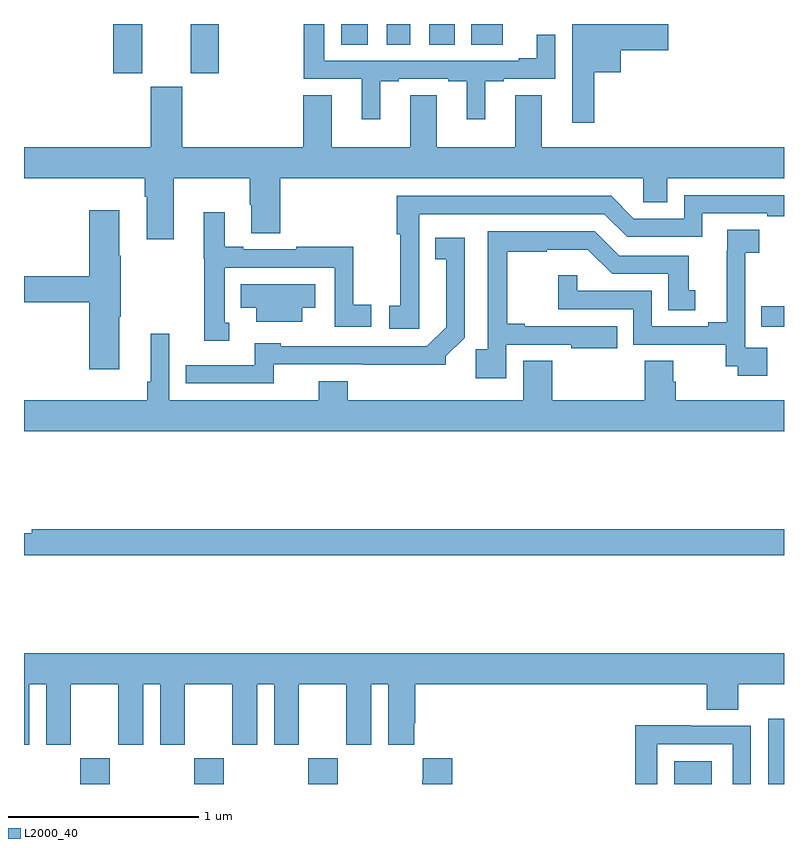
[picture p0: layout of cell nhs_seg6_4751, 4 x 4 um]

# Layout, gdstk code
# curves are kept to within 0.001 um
import gdstk
lib = gdstk.Library(unit=1e-6, precision=1e-09)
def R(c, l, rs):  # rectangles x0, y0, x1, y1
    for r in rs: c.add(gdstk.rectangle(r[:2], r[2:], *l))
def A(c, l, x, y, w, h, nx, ny, dx, dy):  # array of equal rectangles
    R(c, l, [(x+i*dx, y+j*dy, x+i*dx+w, y+j*dy+h) for i in range(nx) for j in range(ny)])
def P(c, l, *ps):  # polygons
    for p in ps: c.add(gdstk.Polygon(p, *l))
L2000_40 = (2000, 40)

nhs_seg6_4751 = lib.new_cell('nhs_seg6_4751')
A(nhs_seg6_4751, L2000_40, 393.295, 925.5, 0.155, 0.136, 3, 1, 0.6, 0)
R(nhs_seg6_4751, L2000_40, [(396.422,925.5,396.619,925.621), (396.918,925.5,397,925.843), (396.88,927.906,397,928.015), (393.47,929.241,393.622,929.5), (393.878,929.241,394.026,929.5), (394.67,929.392,394.81,929.5), (394.91,929.392,395.032,929.5), (395.132,929.392,395.266,929.5), (395.354,929.392,395.521,929.5)])
P(nhs_seg6_4751, L2000_40, [(394.876,929.199),(394.972,929.199),(394.972,929.211),(395.234,929.211),(395.234,929.199),(395.33,929.199),(395.33,928.998),(395.428,928.998),(395.428,929.199),(395.524,929.199),(395.524,929.211),(395.796,929.211),(395.796,929.443),(395.699,929.443),(395.699,929.32),(395.603,929.32),(395.603,929.307),(394.581,929.307),(394.581,929.5),(394.473,929.5),(394.473,929.211),(394.778,929.211),(394.778,928.998),(394.876,928.998)],
  [(396.002,929.246),(396.142,929.246),(396.142,929.363),(396.391,929.363),(396.391,929.5),(395.885,929.5),(395.885,929.493),(395.886,929.493),(395.886,928.98),(396.002,928.98)],
  [(393.787,928.688),(394.189,928.688),(394.189,928.55),(394.196,928.55),(394.196,928.399),(394.349,928.399),(394.349,928.688),(396.258,928.688),(396.258,928.561),(396.385,928.561),(396.385,928.688),(397,928.688),(397,928.852),(395.725,928.852),(395.725,929.126),(395.585,929.126),(395.585,928.852),(395.173,928.852),(395.173,929.126),(395.033,929.126),(395.033,928.852),(394.621,928.852),(394.621,929.126),(394.469,929.126),(394.469,928.852),(393.832,928.852),(393.832,929.169),(393.668,929.169),(393.668,928.852),(393,928.852),(393,928.688),(393.635,928.688),(393.635,928.592),(393.647,928.592),(393.647,928.368),(393.787,928.368)],
  [(395.08,928.172),(395.079,928.5),(396.054,928.5),(396.174,928.38),(396.57,928.38),(396.57,928.503),(396.911,928.503),(396.911,928.488),(397,928.488),(397,928.599),(396.474,928.599),(396.474,928.476),(396.21,928.476),(396.09,928.596),(394.963,928.596),(394.963,928.393),(394.981,928.393),(394.981,928.017),(394.923,928.017),(394.923,927.897),(395.08,927.897)],
  [(393.502,927.959),(393.51,927.959),(393.51,928.28),(393.502,928.28),(393.502,928.519),(393.344,928.519),(393.344,928.172),(393,928.172),(393,928.036),(393.344,928.036),(393.344,927.684),(393.502,927.684)],
  [(394.081,927.927),(394.056,927.927),(394.056,928.218),(394.635,928.218),(394.635,927.906),(394.828,927.906),(394.828,928.022),(394.734,928.022),(394.734,928.327),(394.432,928.327),(394.432,928.314),(394.153,928.314),(394.153,928.327),(394.057,928.327),(394.057,928.51),(393.947,928.51),(393.947,928.265),(393.948,928.265),(393.948,927.833),(394.081,927.833)],
  [(396.913,927.795),(396.795,927.795),(396.795,928.099),(396.797,928.099),(396.797,928.297),(396.871,928.297),(396.871,928.418),(396.7,928.418),(396.7,928.307),(396.698,928.307),(396.698,927.929),(396.602,927.929),(396.602,927.909),(396.303,927.909),(396.303,928.095),(395.913,928.095),(395.913,928.177),(395.812,928.177),(395.812,927.999),(396.207,927.999),(396.207,927.813),(396.694,927.813),(396.694,927.699),(396.757,927.699),(396.757,927.648),(396.913,927.648)],
  [(395.538,927.813),(395.879,927.813),(395.879,927.794),(396.122,927.794),(396.122,927.909),(395.635,927.909),(395.635,927.922),(395.543,927.922),(395.543,928.302),(395.75,928.302),(395.75,928.313),(395.968,928.313),(396.096,928.185),(396.392,928.185),(396.392,927.994),(396.532,927.994),(396.532,928.098),(396.499,928.098),(396.499,928.281),(396.132,928.281),(396.003,928.41),(395.442,928.41),(395.442,927.787),(395.377,927.787),(395.377,927.636),(395.538,927.636)],
  [(394.314,927.708),(395.22,927.707),(395.22,927.751),(395.319,927.85),(395.319,928.375),(395.164,928.375),(395.164,928.262),(395.222,928.262),(395.222,927.905),(395.121,927.804),(394.35,927.804),(394.35,927.82),(394.214,927.82),(394.214,927.705),(393.85,927.705),(393.85,927.609),(394.314,927.609)],
  [(394.465,928.007),(394.534,928.007),(394.534,928.129),(394.141,928.129),(394.141,928.007),(394.223,928.007),(394.223,927.932),(394.465,927.932)],
  [(397,927.52),(396.431,927.52),(396.431,927.618),(396.418,927.618),(396.418,927.728),(396.266,927.728),(396.266,927.52),(395.78,927.52),(395.78,927.728),(395.627,927.728),(395.627,927.52),(394.703,927.52),(394.703,927.619),(394.55,927.619),(394.55,927.52),(393.765,927.52),(393.765,927.871),(393.668,927.871),(393.668,927.616),(393.649,927.616),(393.649,927.52),(393,927.52),(393,927.356),(397,927.356)],
  [(397,926.84),(393.04,926.84),(393.04,926.821),(393,926.821),(393,926.704),(397,926.704)],
  [(393.028,926.024),(393.116,926.024),(393.116,925.707),(393.247,925.707),(393.247,926.024),(393.497,926.024),(393.497,925.707),(393.628,925.707),(393.628,926.024),(393.716,926.024),(393.716,925.707),(393.847,925.707),(393.847,926.024),(394.097,926.024),(394.097,925.707),(394.228,925.707),(394.228,926.024),(394.316,926.024),(394.316,925.707),(394.447,925.707),(394.447,926.024),(394.697,926.024),(394.697,925.707),(394.828,925.707),(394.828,926.024),(394.916,926.024),(394.916,925.707),(395.053,925.707),(395.053,925.819),(395.06,925.819),(395.06,926.024),(396.593,926.024),(396.593,925.891),(396.758,925.891),(396.758,926.024),(397,926.024),(397,926.188),(393,926.188),(393,925.707),(393.028,925.707)],
  [(396.333,925.71),(396.729,925.71),(396.729,925.5),(396.825,925.5),(396.825,925.806),(396.509,925.806),(396.509,925.808),(396.217,925.808),(396.217,925.5),(396.333,925.5)],
  [(395.255,925.636),(395.099,925.636),(395.099,925.523),(395.095,925.523),(395.095,925.5),(395.255,925.5)])

lib.write_gds('nhs_seg6_4751.gds')
